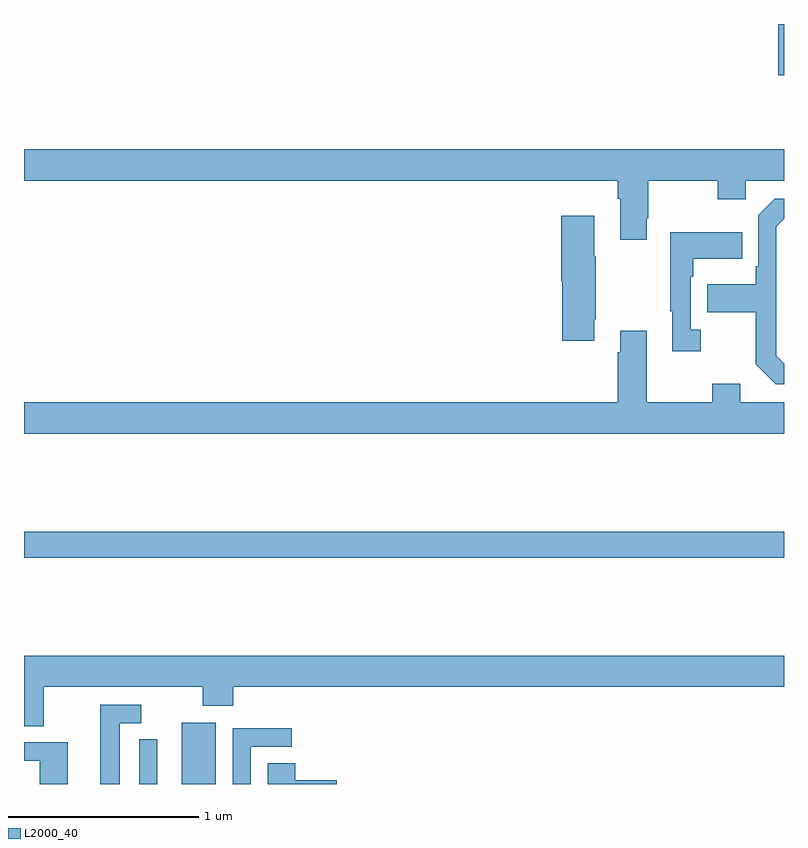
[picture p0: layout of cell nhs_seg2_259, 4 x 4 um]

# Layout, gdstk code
import gdstk
lib = gdstk.Library(unit=1e-6, precision=1e-09)
def R(c, l, rs):  # rectangles x0, y0, x1, y1
    for r in rs: c.add(gdstk.rectangle(r[:2], r[2:], *l))
def P(c, l, *ps):  # polygons
    for p in ps: c.add(gdstk.Polygon(p, *l))
L2000_40 = (2000, 40)

nhs_seg2_259 = lib.new_cell('nhs_seg2_259')
R(nhs_seg2_259, L2000_40, [(123.83,637.8,124.009,638.122), (123,638.992,127,639.128), (126.971,641.529,127,641.8)])
P(nhs_seg2_259, L2000_40, [(126.277,640.777),(126.285,640.777),(126.285,640.976),(126.652,640.976),(126.652,640.877),(126.798,640.877),(126.798,640.976),(127,640.976),(127,641.14),(123,641.14),(123,640.976),(126.125,640.976),(126.125,640.88),(126.137,640.88),(126.137,640.665),(126.277,640.665)],
  [(127,640.013),(126.96,640.053),(126.96,640.734),(127,640.774),(127,640.881),(126.951,640.881),(126.864,640.794),(126.864,640.525),(126.852,640.525),(126.852,640.429),(126.595,640.429),(126.595,640.282),(126.852,640.282),(126.852,640.009),(126.957,639.903),(127,639.903)],
  [(126.001,640.246),(126.009,640.246),(126.009,640.577),(126.001,640.577),(126.001,640.792),(125.828,640.792),(125.828,640.446),(125.834,640.446),(125.834,640.134),(126.001,640.134)],
  [(126.562,640.19),(126.51,640.19),(126.51,640.469),(126.523,640.469),(126.523,640.565),(126.779,640.565),(126.779,640.705),(126.402,640.705),(126.402,640.289),(126.413,640.289),(126.413,640.077),(126.562,640.077)],
  [(127,639.808),(126.769,639.808),(126.769,639.907),(126.622,639.907),(126.622,639.808),(126.277,639.808),(126.277,640.186),(126.137,640.186),(126.137,640.073),(126.125,640.073),(126.125,639.808),(123,639.808),(123,639.644),(127,639.644)],
  [(123.103,638.312),(123.94,638.312),(123.94,638.213),(124.1,638.213),(124.1,638.312),(127,638.312),(127,638.476),(123,638.476),(123,638.104),(123.103,638.104)],
  [(123.505,638.121),(123.616,638.121),(123.616,638.217),(123.401,638.217),(123.401,637.8),(123.505,637.8)],
  [(124.194,637.995),(124.408,637.995),(124.408,638.094),(124.098,638.094),(124.098,637.8),(124.194,637.8)],
  [(123.701,637.882),(123.702,637.882),(123.702,638.036),(123.606,638.036),(123.606,637.8),(123.701,637.8)],
  [(123.229,638.019),(123,638.019),(123,637.923),(123.084,637.923),(123.084,637.8),(123.229,637.8)],
  [(124.645,637.82),(124.427,637.82),(124.427,637.91),(124.283,637.91),(124.283,637.8),(124.645,637.8)])

lib.write_gds('nhs_seg2_259.gds')
